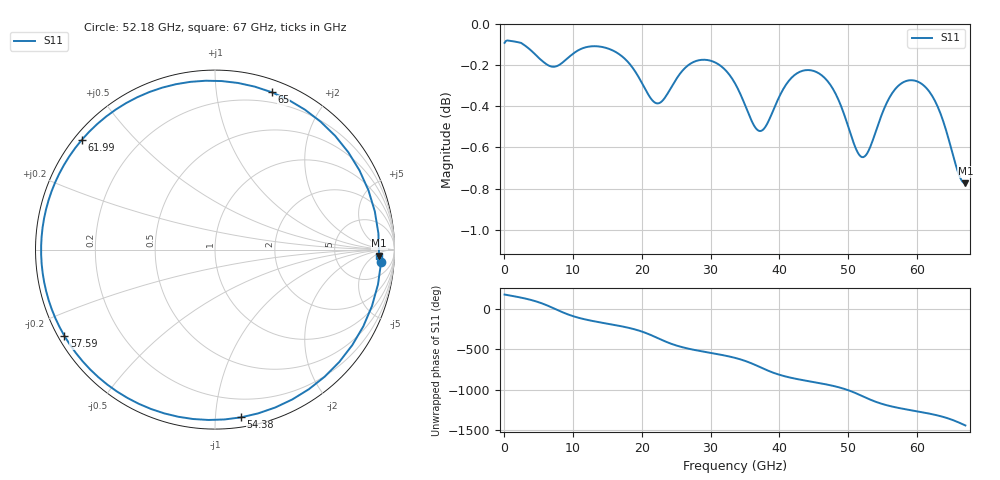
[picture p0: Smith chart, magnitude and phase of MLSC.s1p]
! Created with skrf (http://scikit-rf.org).
# Hz S RI R 50.0
!freq ReS11 ImS11
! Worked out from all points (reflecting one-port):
!   335 points, 100 MHz to 67 GHz, reference 50 ohm
!   lowest |S11| = -0.8 dB at 67 GHz (marker M1), VSWR 22.45, Z = 953 - j401 ohm
!   phase of S11 starts at 178 deg and turns -1621 deg over the sweep
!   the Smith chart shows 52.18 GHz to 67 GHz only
!   S11 on the Smith chart (normalised r, x): 52.18 GHz: 13, -13; 54.38 GHz: 0.07, -1.17; 57.59 GHz: 0.02, -0.27; 61.99 GHz: 0.02, +0.36; 65 GHz: 0.11, +1.42; 67 GHz: 19, -8
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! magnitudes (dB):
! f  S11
! 100 MHz  -0.1
! 2.504 GHz  -0.1
! 6.71 GHz  -0.2
! 8.513 GHz  -0.2
! 12.52 GHz  -0.1
! 16.93 GHz  -0.2
! 22.13 GHz  -0.4
! 25.34 GHz  -0.3
! 27.34 GHz  -0.2
! 29.54 GHz  -0.2
! 33.55 GHz  -0.3
! 36.15 GHz  -0.5
! 37.16 GHz  -0.5
! 41.96 GHz  -0.3
! 44.17 GHz  -0.2
! 46.57 GHz  -0.3
! 48.37 GHz  -0.4
! 50.38 GHz  -0.5
! 52.18 GHz  -0.6
! 54.38 GHz  -0.5
! 55.98 GHz  -0.4
! 57.59 GHz  -0.3
! 58.79 GHz  -0.3
! 61.99 GHz  -0.3
! 63.39 GHz  -0.4
! 65 GHz  -0.6
! 66.2 GHz  -0.7
! 67 GHz  -0.8
